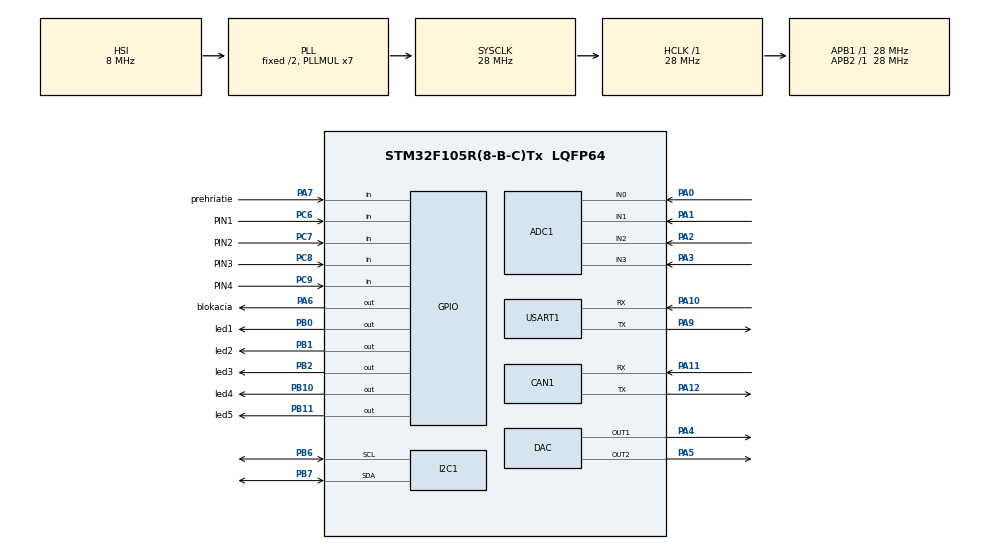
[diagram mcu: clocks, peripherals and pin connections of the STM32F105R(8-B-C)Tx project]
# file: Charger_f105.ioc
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ADC1.Channel-0\#ChannelRegularConversion=ADC_CHANNEL_0
ADC1.Channel-1\#ChannelRegularConversion=ADC_CHANNEL_1
ADC1.Channel-4\#ChannelRegularConversion=ADC_CHANNEL_2
ADC1.Channel-5\#ChannelRegularConversion=ADC_CHANNEL_3
ADC1.ContinuousConvMode=ENABLE
ADC1.DataAlign=ADC_DATAALIGN_RIGHT
ADC1.DiscontinuousConvMode=DISABLE
ADC1.EnableAnalogWatchDog=false
ADC1.EnableRegularConversion=ENABLE
ADC1.ExternalTrigConv=ADC_SOFTWARE_START
ADC1.InjNumberOfConversion=0
ADC1.NbrOfConversion=4
ADC1.NbrOfConversionFlag=1
ADC1.Rank-0\#ChannelRegularConversion=1
ADC1.Rank-1\#ChannelRegularConversion=2
ADC1.Rank-4\#ChannelRegularConversion=3
ADC1.Rank-5\#ChannelRegularConversion=4
ADC1.SamplingTime-0\#ChannelRegularConversion=ADC_SAMPLETIME_71CYCLES_5
ADC1.SamplingTime-1\#ChannelRegularConversion=ADC_SAMPLETIME_71CYCLES_5
ADC1.SamplingTime-4\#ChannelRegularConversion=ADC_SAMPLETIME_71CYCLES_5
ADC1.SamplingTime-5\#ChannelRegularConversion=ADC_SAMPLETIME_71CYCLES_5
ADC1.ScanConvMode=ADC_SCAN_ENABLE
ADC1.master=1
CAN1.CalculateTimeBit=1714
CAN1.CalculateTimeQuantum=571.4285714285714
Dma.ADC1.0.Direction=DMA_PERIPH_TO_MEMORY
Dma.ADC1.0.Instance=DMA1_Channel1
Dma.ADC1.0.MemDataAlignment=DMA_MDATAALIGN_HALFWORD
Dma.ADC1.0.MemInc=DMA_MINC_ENABLE
Dma.ADC1.0.Mode=DMA_CIRCULAR
Dma.ADC1.0.PeriphDataAlignment=DMA_PDATAALIGN_HALFWORD
Dma.ADC1.0.PeriphInc=DMA_PINC_DISABLE
Dma.ADC1.0.Priority=DMA_PRIORITY_LOW
Dma.Request0=ADC1
I2C1.I2C_Mode=I2C_Fast
Mcu.Family=STM32F1
Mcu.Name=STM32F105R(8-B-C)Tx
Mcu.Package=LQFP64
NVIC.ADC1_2_IRQn=true\:0\:0\:false\:false\:true\:true
NVIC.DMA1_Channel1_IRQn=true\:0\:0\:false\:false\:true\:false
NVIC.PriorityGroup=NVIC_PRIORITYGROUP_4
PA0-WKUP.Signal=ADCx_IN0
PA1.Signal=ADCx_IN1
PA10.Mode=Asynchronous
PA10.Signal=USART1_RX
PA11.Mode=Master
PA11.Signal=CAN1_RX
PA12.Mode=Master
PA12.Signal=CAN1_TX
PA13.Mode=Serial_Wire
PA13.Signal=SYS_JTMS-SWDIO
PA14.Mode=Serial_Wire
PA14.Signal=SYS_JTCK-SWCLK
PA2.Signal=ADCx_IN2
PA3.Signal=ADCx_IN3
PA4.Signal=COMP_DAC1_group
PA5.Signal=COMP_DAC2_group
PA6.GPIO_Label=blokacia
PA6.Signal=GPIO_Output
PA7.GPIO_Label=prehriatie
PA7.Signal=GPIO_Input
PA9.Mode=Asynchronous
PA9.Signal=USART1_TX
PB0.GPIO_Label=led1
PB0.Signal=GPIO_Output
PB1.GPIO_Label=led2
PB1.Signal=GPIO_Output
PB10.GPIO_Label=led4
PB10.Signal=GPIO_Output
PB11.GPIO_Label=led5
PB11.Signal=GPIO_Output
PB2.GPIO_Label=led3
PB2.Signal=GPIO_Output
PB6.Mode=I2C
PB6.Signal=I2C1_SCL
PB7.Mode=I2C
PB7.Signal=I2C1_SDA
PC6.GPIO_Label=PIN1
PC6.Signal=GPIO_Input
PC7.GPIO_Label=PIN2
PC7.Signal=GPIO_Input
PC8.GPIO_Label=PIN3
PC8.Signal=GPIO_Input
PC9.GPIO_Label=PIN4
PC9.Signal=GPIO_Input
PD0-OSC_IN.Mode=HSE-External-Clock-Source
PD0-OSC_IN.Signal=RCC_OSC_IN
PD1-OSC_OUT.Mode=HSE-External-Clock-Source
PD1-OSC_OUT.Signal=RCC_OSC_OUT
ProjectManager.HeapSize=0x200
ProjectManager.StackSize=0x400
ProjectManager.TargetToolchain=TrueSTUDIO
RCC.AHBFreq_Value=28000000
RCC.APB1Freq_Value=28000000
RCC.APB1TimFreq_Value=28000000
RCC.APB2Freq_Value=28000000
RCC.APB2TimFreq_Value=28000000
RCC.HCLKFreq_Value=28000000
RCC.PLLMUL=RCC_PLL_MUL7
RCC.SYSCLKFreq_VALUE=28000000
RCC.SYSCLKSource=RCC_SYSCLKSOURCE_PLLCLK
RCC.USBFreq_Value=18666666.666666668
SH.ADCx_IN0.0=ADC1_IN0,IN0
SH.ADCx_IN1.0=ADC1_IN1,IN1
SH.ADCx_IN2.0=ADC1_IN2,IN2
SH.ADCx_IN3.0=ADC1_IN3,IN3
SH.COMP_DAC1_group.0=DAC_OUT1,DAC_OUT1
SH.COMP_DAC2_group.0=DAC_OUT2,DAC_OUT2
USART1.VirtualMode=VM_ASYNC
board=Charger_f105

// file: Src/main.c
/**
  ******************************************************************************
  * @file           : main.c
  * @brief          : Main program body
  ******************************************************************************
  ** This notice applies to any and all portions of this file
  * that are not between comment pairs USER CODE BEGIN and
  * USER CODE END. Other portions of this file, whether
  * inserted by the user or by software development tools
  * are owned by their respective copyright owners.
  *
  * COPYRIGHT(c) 2018 STMicroelectronics
  *
  * Redistribution and use in source and binary forms, with or without modification,
  * are permitted provided that the following conditions are met:
  *   1. Redistributions of source code must retain the above copyright notice,
  *      this list of conditions and the following disclaimer.
  *   2. Redistributions in binary form must reproduce the above copyright notice,
  *      this list of conditions and the following disclaimer in the documentation
  *      and/or other materials provided with the distribution.
  *   3. Neither the name of STMicroelectronics nor the names of its contributors
  *      may be used to endorse or promote products derived from this software
  *      without specific prior written permission.
  *
  * THIS SOFTWARE IS PROVIDED BY THE COPYRIGHT HOLDERS AND CONTRIBUTORS "AS IS"
  * AND ANY EXPRESS OR IMPLIED WARRANTIES, INCLUDING, BUT NOT LIMITED TO, THE
  * IMPLIED WARRANTIES OF MERCHANTABILITY AND FITNESS FOR A PARTICULAR PURPOSE ARE
  * DISCLAIMED. IN NO EVENT SHALL THE COPYRIGHT HOLDER OR CONTRIBUTORS BE LIABLE
  * FOR ANY DIRECT, INDIRECT, INCIDENTAL, SPECIAL, EXEMPLARY, OR CONSEQUENTIAL
  * DAMAGES (INCLUDING, BUT NOT LIMITED TO, PROCUREMENT OF SUBSTITUTE GOODS OR
  * SERVICES; LOSS OF USE, DATA, OR PROFITS; OR BUSINESS INTERRUPTION) HOWEVER
  * CAUSED AND ON ANY THEORY OF LIABILITY, WHETHER IN CONTRACT, STRICT LIABILITY,
  * OR TORT (INCLUDING NEGLIGENCE OR OTHERWISE) ARISING IN ANY WAY OUT OF THE USE
  * OF THIS SOFTWARE, EVEN IF ADVISED OF THE POSSIBILITY OF SUCH DAMAGE.
  *
  ******************************************************************************
  */
#include "main.h"
#include "stm32f1xx_hal.h"

/* USER CODE BEGIN Includes */
#include "ssd1306.h"
#include "i2c-lcd.h"
/* USER CODE END Includes */

ADC_HandleTypeDef hadc1;
DMA_HandleTypeDef hdma_adc1;

CAN_HandleTypeDef hcan1;

DAC_HandleTypeDef hdac;

I2C_HandleTypeDef hi2c1;

UART_HandleTypeDef huart1;

/* USER CODE BEGIN PV */
/* Private variables ---------------------------------------------------------*/
uint8_t mode,MeanCounter=0;
uint16_t ADC1_BUF[128][4];
uint32_t MeanUbin,MeanIbin,MeanPot1B,MeanPot2B;
uint32_t BPot1,BPot2,BmeraneU,BmeraneI;
float meraneU,meraneI,Pot1,Pot2;

#define Ukonst 0.155844
#define	Ikonst 0.006012053
#define UkonstNastav 0.155844
#define	IkonstNastav 0.006012053
/* 	mode 0 - start
	mode 1 - manual mode
	mode 2 - automatic linear voltage
	mode 3 - automatic PWM current
	mode 4 - fast charge
*/
/* USER CODE END PV */

void SystemClock_Config(void);
static void MX_GPIO_Init(void);
static void MX_DMA_Init(void);
static void MX_ADC1_Init(void);
static void MX_CAN1_Init(void);
static void MX_DAC_Init(void);
static void MX_I2C1_Init(void);
static void MX_USART1_UART_Init(void);

/* USER CODE BEGIN PFP */
/* Private function prototypes -----------------------------------------------*/

/* USER CODE END PFP */

/* USER CODE BEGIN 0 */
/*
void HAL_ADC_ConvCpltCallback(ADC_HandleTypeDef* hadc)
{
	if(hadc->Instance==ADC1)
		{
			BmeraneU=ADC1_BUF[0];
			BmeraneI=ADC1_BUF[1];
			BPot1=ADC1_BUF[2];
			BPot2=ADC1_BUF[3];
		}
	meraneU=((float)BmeraneU*Ukonst);
		meraneI=((float)BmeraneI*Ikonst);
		Pot1=((float)BPot1*Ukonst);
		Pot2=((float)BPot2*Ikonst);

		MeanU[MeanCounter]=ADC1_BUF[0];
		MeanI[MeanCounter]=ADC1_BUF[1];
		MeanPot1[MeanCounter]=ADC1_BUF[2];
		MeanPot2[MeanCounter]=ADC1_BUF[3];

		MeanCounter++;
		MeanUbin=0;
		MeanIbin=0;
		MeanPot1B=0;
		MeanPot2B=0;

		if (MeanCounter>=25)	MeanCounter=0;

		for(int counterF=0;counterF<=25;counterF++)
		  {
		  		MeanUbin+=(uint32_t)MeanU[counterF];
		  		MeanIbin+=(uint32_t)MeanI[counterF];
		  		MeanPot1B+=(uint32_t)MeanPot1[counterF];
				MeanPot2B+=(uint32_t)MeanPot2[counterF];
		  }
		MeanUbin=(uint32_t)(MeanUbin/25);
		MeanIbin=(uint32_t)(MeanIbin/25);
		MeanPot1B=(uint32_t)(MeanPot2B/25);
		MeanPot2B=(uint32_t)(MeanPot2B/25);
		if (MeanUbin>=4095)	MeanUbin=0;
		if (MeanIbin>=4095)	MeanIbin=0;
		if (MeanPot1B>=4095)	MeanPot1B=0;
		if (MeanPot2B>=4095)	MeanPot2B=0;
}*/
void nastavU(float napetie)
{
	uint32_t Ubinar;
	Ubinar = (uint32_t)(napetie/UkonstNastav);
	HAL_DAC_SetValue(&hdac,DAC_CHANNEL_1,DAC_ALIGN_12B_R, Ubinar);
}
void nastavI(float prud)
{
	uint32_t Ibinar;
	Ibinar = (uint32_t)(prud/IkonstNastav);
	HAL_DAC_SetValue(&hdac,DAC_CHANNEL_2,DAC_ALIGN_12B_R, Ibinar);
}
void nastavUbin(uint32_t Ubinar)
{
	HAL_DAC_SetValue(&hdac,DAC_CHANNEL_1,DAC_ALIGN_12B_R, Ubinar);
}
void nastavIbin(uint32_t Ibinar)
{
	HAL_DAC_SetValue(&hdac,DAC_CHANNEL_2,DAC_ALIGN_12B_R, Ibinar);
}
void vypisOLED()
{
	char text [20];
	//SSD1306_Init ();
	SSD1306_Fill (0);
	SSD1306_GotoXY (2, 0);
	//sprintf(text,"Uz:%.2d V",Pot1);
	sprintf(text,"Uz:%d V",BPot1);
	SSD1306_Puts (text, &Font_7x10, 1);
	//SSD1306_UpdateScreen();
	SSD1306_GotoXY (2, 12);
	//sprintf(text,"Um:%.2d V",(float)meraneU);
	sprintf(text,"Um:%d V",BmeraneU);
	SSD1306_Puts (text, &Font_7x10, 1);
	//SSD1306_UpdateScreen();
	SSD1306_GotoXY (2, 24);
	//sprintf(text,"Iz:%.2d A",(float)Pot2);
	sprintf(text,"Iz:%d A",BPot2);
	SSD1306_Puts (text, &Font_7x10, 1);
	//SSD1306_UpdateScreen();
	SSD1306_GotoXY (2, 36);
	//sprintf(text,"Im:%.2d A",(float)meraneI);
	sprintf(text,"Im:%d A",BmeraneI);
	SSD1306_Puts (text, &Font_7x10, 1);
	SSD1306_GotoXY (2, 48);
	sprintf(text,"IMD:%s BMS:%s","ok","ok");
	SSD1306_Puts (text, &Font_7x10, 1);
	SSD1306_UpdateScreen();

}
void DACtest()
{
	uint32_t	valByte2,valByte;
	valByte2 = (uint32_t)((1.0/1.0)*4095);
	float valVolt = 1.9 ;
	valByte = (uint32_t)((valVolt/3.3)*4095);
	for(int d=0;d<3300;d++)
	{
		float num=(float)d;
		valByte = (uint32_t)((num/3300.0)*4095);
		valByte2 = (uint32_t)((1-(num/3300.0))*4095);
		HAL_DAC_SetValue(&hdac,DAC_CHANNEL_2,DAC_ALIGN_12B_R, valByte);
		HAL_DAC_SetValue(&hdac,DAC_CHANNEL_1,DAC_ALIGN_12B_R, valByte2);
		//HAL_Delay(1);
	}
}
void DMAMeranie()
{
	MeanUbin=0;
	MeanIbin=0;
	MeanPot1B=0;
	MeanPot2B=0;
	MeanPot2B=0;
	for(int counterF=0;counterF<126;counterF++)
		{
			  		MeanUbin+=ADC1_BUF[counterF][0];
			  		MeanIbin+=ADC1_BUF[counterF][1];
			  		MeanPot1B+=ADC1_BUF[counterF][2];
					MeanPot2B+=ADC1_BUF[counterF][3];
		}
	BmeraneU=MeanUbin/126;
	BmeraneI=MeanIbin/126;
	BPot1=MeanPot1B/126;
	BPot2=MeanPot2B/126;
	//HAL_ADC_Start_IT(&hadc1);
	//HAL_ADC_Start_DMA(&hadc1,(uint32_t*)ADC1_BUF,4);

}
void InitVypis()
{
	SSD1306_Init ();
	SSD1306_Fill (0);
	SSD1306_GotoXY (40, 0);
	SSD1306_Puts ("NES", &Font_16x26, 1);
	SSD1306_UpdateScreen();
	SSD1306_GotoXY (30, 26);
	SSD1306_Puts ("CHARGER", &Font_11x18, 1);
	SSD1306_UpdateScreen();
	SSD1306_GotoXY (10, 50);
	SSD1306_Puts ("STUBA GREEN TEAM", &Font_7x10, 1);
	SSD1306_UpdateScreen();
}
void BlockVypis()
{
	char text [20];
		//SSD1306_Init ();
		SSD1306_Fill (0);

		SSD1306_GotoXY (2, 0);
		SSD1306_Puts ("Vynuluj", &Font_11x18, 1);
		SSD1306_GotoXY (60, 15);
				SSD1306_Puts ("zdroj", &Font_11x18, 1);

		SSD1306_GotoXY (2, 30);
		sprintf(text,"Uz:%d V",BPot1);
		SSD1306_Puts (text, &Font_11x18, 1);

		SSD1306_GotoXY (2, 45);
		sprintf(text,"Iz:%d A",BPot2);
		SSD1306_Puts (text, &Font_11x18, 1);
		//SSD1306_UpdateScreen();

		SSD1306_UpdateScreen();
}
void PrimitivneOvladanie()
{
//PriameMeranie();
DMAMeranie();
nastavUbin(BPot1);
nastavIbin(BPot2);
//DACtest();
vypisOLED();
HAL_Delay(10);
//testvypis();
}

void Mode0()
{
	while(1)
	{
		nastavIbin(0);
		nastavUbin(0);
		InitVypis();
		//set blokaciu
		//break na interupt bud tla4idlo alebo y 4D displeya
	}
}
void Mode1()
{
	//while(1)
		//{
			//reset blokacie
			PrimitivneOvladanie();

		//}
}
void Mode2()
{
	while(1)
		{

		}
}
void Mode3()
{
	while(1)
		{

		}
}
void Mode4()
{
	while(1)
		{

		}
}
/* USER CODE END 0 */

int main(void)
{

  /* MCU Configuration----------------------------------------------------------*/

  /* Reset of all peripherals, Initializes the Flash interface and the Systick. */
  HAL_Init();

  /* Configure the system clock */
  SystemClock_Config();

  /* Initialize all configured peripherals */
  MX_GPIO_Init();
  MX_DMA_Init();
  MX_ADC1_Init();
  MX_CAN1_Init();
  MX_DAC_Init();
  MX_I2C1_Init();
  MX_USART1_UART_Init();
  /* USER CODE BEGIN 2 */
  mode=1;
  HAL_ADC_Start_DMA(&hadc1,(uint32_t*)ADC1_BUF,512);
  //HAL_ADC_Start_IT(&hadc1);
  //HAL_ADC_Start(&hadc2);
  uint32_t nula=0;
  HAL_DAC_Start(&hdac,DAC_CHANNEL_1);
  HAL_DAC_Start(&hdac,DAC_CHANNEL_2);
  HAL_DAC_SetValue(&hdac,DAC_CHANNEL_1,DAC_ALIGN_12B_R, nula);
  HAL_DAC_SetValue(&hdac,DAC_CHANNEL_2,DAC_ALIGN_12B_R, nula);
  SSD1306_Init ();
  /* USER CODE END 2 */

  /* Infinite loop */
  /* USER CODE BEGIN WHILE */
  InitVypis();
  HAL_Delay(1000);

  while (1)
  {
	  HAL_DAC_SetValue(&hdac,DAC_CHANNEL_1,DAC_ALIGN_12B_R, nula);
	  HAL_DAC_SetValue(&hdac,DAC_CHANNEL_2,DAC_ALIGN_12B_R, nula);
	  //PriameMeranie();
	  DMAMeranie();
	  BlockVypis();
	  if(BPot1==0) break;
  }
  while (1)
  {

	  switch(mode)
	  	  {
	  	  	  case 0://vyber a zaistenie
	  	  		  Mode0();
	  	  		  break;

	  	  	  case 1://primitivne ovladanie
	  	  		  Mode1();
	  	  		  break;

	  	  	  case 2://automatica napätova
	  	  		  Mode2();
	  	  		  break;

	  	  	  case 3://automatika prudova
	  	  		  Mode3();
	  	  		  break;

	  	  	  case 4://fast charger
	  	  		  Mode4();
	  	  		  break;
	  	  }
  /* USER CODE END WHILE */

  }

}

void SystemClock_Config(void)
{

  RCC_OscInitTypeDef RCC_OscInitStruct;
  RCC_ClkInitTypeDef RCC_ClkInitStruct;
  RCC_PeriphCLKInitTypeDef PeriphClkInit;

    /**Initializes the CPU, AHB and APB busses clocks
    */
  RCC_OscInitStruct.OscillatorType = RCC_OSCILLATORTYPE_HSI;
  RCC_OscInitStruct.HSIState = RCC_HSI_ON;
  RCC_OscInitStruct.HSICalibrationValue = 16;
  RCC_OscInitStruct.Prediv1Source = RCC_PREDIV1_SOURCE_HSE;
  RCC_OscInitStruct.PLL.PLLState = RCC_PLL_ON;
  RCC_OscInitStruct.PLL.PLLSource = RCC_PLLSOURCE_HSI_DIV2;
  RCC_OscInitStruct.PLL.PLLMUL = RCC_PLL_MUL7;
  RCC_OscInitStruct.PLL2.PLL2State = RCC_PLL_NONE;
  if (HAL_RCC_OscConfig(&RCC_OscInitStruct) != HAL_OK)
  {
    _Error_Handler(__FILE__, __LINE__);
  }

    /**Initializes the CPU, AHB and APB busses clocks
    */
  RCC_ClkInitStruct.ClockType = RCC_CLOCKTYPE_HCLK|RCC_CLOCKTYPE_SYSCLK
                              |RCC_CLOCKTYPE_PCLK1|RCC_CLOCKTYPE_PCLK2;
  RCC_ClkInitStruct.SYSCLKSource = RCC_SYSCLKSOURCE_PLLCLK;
  RCC_ClkInitStruct.AHBCLKDivider = RCC_SYSCLK_DIV1;
  RCC_ClkInitStruct.APB1CLKDivider = RCC_HCLK_DIV1;
  RCC_ClkInitStruct.APB2CLKDivider = RCC_HCLK_DIV1;

  if (HAL_RCC_ClockConfig(&RCC_ClkInitStruct, FLASH_LATENCY_1) != HAL_OK)
  {
    _Error_Handler(__FILE__, __LINE__);
  }

  PeriphClkInit.PeriphClockSelection = RCC_PERIPHCLK_ADC;
  PeriphClkInit.AdcClockSelection = RCC_ADCPCLK2_DIV2;
  if (HAL_RCCEx_PeriphCLKConfig(&PeriphClkInit) != HAL_OK)
  {
    _Error_Handler(__FILE__, __LINE__);
  }

    /**Configure the Systick interrupt time
    */
  HAL_SYSTICK_Config(HAL_RCC_GetHCLKFreq()/1000);

    /**Configure the Systick
    */
  HAL_SYSTICK_CLKSourceConfig(SYSTICK_CLKSOURCE_HCLK);

    /**Configure the Systick interrupt time
    */
  __HAL_RCC_PLLI2S_ENABLE();

  /* SysTick_IRQn interrupt configuration */
  HAL_NVIC_SetPriority(SysTick_IRQn, 0, 0);
}

/* ADC1 init function */
static void MX_ADC1_Init(void)
{

  ADC_ChannelConfTypeDef sConfig;

    /**Common config
    */
  hadc1.Instance = ADC1;
  hadc1.Init.ScanConvMode = ADC_SCAN_ENABLE;
  hadc1.Init.ContinuousConvMode = ENABLE;
  hadc1.Init.DiscontinuousConvMode = DISABLE;
  hadc1.Init.ExternalTrigConv = ADC_SOFTWARE_START;
  hadc1.Init.DataAlign = ADC_DATAALIGN_RIGHT;
  hadc1.Init.NbrOfConversion = 4;
  if (HAL_ADC_Init(&hadc1) != HAL_OK)
  {
    _Error_Handler(__FILE__, __LINE__);
  }

    /**Configure Regular Channel
    */
  sConfig.Channel = ADC_CHANNEL_0;
  sConfig.Rank = ADC_REGULAR_RANK_1;
  sConfig.SamplingTime = ADC_SAMPLETIME_71CYCLES_5;
  if (HAL_ADC_ConfigChannel(&hadc1, &sConfig) != HAL_OK)
  {
    _Error_Handler(__FILE__, __LINE__);
  }

    /**Configure Regular Channel
    */
  sConfig.Channel = ADC_CHANNEL_1;
  sConfig.Rank = ADC_REGULAR_RANK_2;
  if (HAL_ADC_ConfigChannel(&hadc1, &sConfig) != HAL_OK)
  {
    _Error_Handler(__FILE__, __LINE__);
  }

    /**Configure Regular Channel
    */
  sConfig.Channel = ADC_CHANNEL_2;
  sConfig.Rank = ADC_REGULAR_RANK_3;
  if (HAL_ADC_ConfigChannel(&hadc1, &sConfig) != HAL_OK)
  {
    _Error_Handler(__FILE__, __LINE__);
  }

    /**Configure Regular Channel
    */
  sConfig.Channel = ADC_CHANNEL_3;
  sConfig.Rank = ADC_REGULAR_RANK_4;
  if (HAL_ADC_ConfigChannel(&hadc1, &sConfig) != HAL_OK)
  {
    _Error_Handler(__FILE__, __LINE__);
  }

}

/* CAN1 init function */
static void MX_CAN1_Init(void)
{

  hcan1.Instance = CAN1;
  hcan1.Init.Prescaler = 16;
  hcan1.Init.Mode = CAN_MODE_NORMAL;
  hcan1.Init.SJW = CAN_SJW_1TQ;
  hcan1.Init.BS1 = CAN_BS1_1TQ;
  hcan1.Init.BS2 = CAN_BS2_1TQ;
  hcan1.Init.TTCM = DISABLE;
  hcan1.Init.ABOM = DISABLE;
  hcan1.Init.AWUM = DISABLE;
  hcan1.Init.NART = DISABLE;
  hcan1.Init.RFLM = DISABLE;
  hcan1.Init.TXFP = DISABLE;
  if (HAL_CAN_Init(&hcan1) != HAL_OK)
  {
    _Error_Handler(__FILE__, __LINE__);
  }

}

/* DAC init function */
static void MX_DAC_Init(void)
{

  DAC_ChannelConfTypeDef sConfig;

    /**DAC Initialization
    */
  hdac.Instance = DAC;
  if (HAL_DAC_Init(&hdac) != HAL_OK)
  {
    _Error_Handler(__FILE__, __LINE__);
  }

    /**DAC channel OUT1 config
    */
  sConfig.DAC_Trigger = DAC_TRIGGER_NONE;
  sConfig.DAC_OutputBuffer = DAC_OUTPUTBUFFER_ENABLE;
  if (HAL_DAC_ConfigChannel(&hdac, &sConfig, DAC_CHANNEL_1) != HAL_OK)
  {
    _Error_Handler(__FILE__, __LINE__);
  }

    /**DAC channel OUT2 config
    */
  if (HAL_DAC_ConfigChannel(&hdac, &sConfig, DAC_CHANNEL_2) != HAL_OK)
  {
    _Error_Handler(__FILE__, __LINE__);
  }

}

/* I2C1 init function */
static void MX_I2C1_Init(void)
{

  hi2c1.Instance = I2C1;
  hi2c1.Init.ClockSpeed = 400000;
  hi2c1.Init.DutyCycle = I2C_DUTYCYCLE_2;
  hi2c1.Init.OwnAddress1 = 0;
  hi2c1.Init.AddressingMode = I2C_ADDRESSINGMODE_7BIT;
  hi2c1.Init.DualAddressMode = I2C_DUALADDRESS_DISABLE;
  hi2c1.Init.OwnAddress2 = 0;
  hi2c1.Init.GeneralCallMode = I2C_GENERALCALL_DISABLE;
  hi2c1.Init.NoStretchMode = I2C_NOSTRETCH_DISABLE;
  if (HAL_I2C_Init(&hi2c1) != HAL_OK)
  {
    _Error_Handler(__FILE__, __LINE__);
  }

}

/* USART1 init function */
static void MX_USART1_UART_Init(void)
{

  huart1.Instance = USART1;
  huart1.Init.BaudRate = 115200;
  huart1.Init.WordLength = UART_WORDLENGTH_8B;
  huart1.Init.StopBits = UART_STOPBITS_1;
  huart1.Init.Parity = UART_PARITY_NONE;
  huart1.Init.Mode = UART_MODE_TX_RX;
  huart1.Init.HwFlowCtl = UART_HWCONTROL_NONE;
  huart1.Init.OverSampling = UART_OVERSAMPLING_16;
  if (HAL_UART_Init(&huart1) != HAL_OK)
  {
    _Error_Handler(__FILE__, __LINE__);
  }

}

static void MX_DMA_Init(void)
{
  /* DMA controller clock enable */
  __HAL_RCC_DMA1_CLK_ENABLE();

  /* DMA interrupt init */
  /* DMA1_Channel1_IRQn interrupt configuration */
  HAL_NVIC_SetPriority(DMA1_Channel1_IRQn, 0, 0);
  HAL_NVIC_EnableIRQ(DMA1_Channel1_IRQn);

}

/** Configure pins as
        * Analog
        * Input
        * Output
        * EVENT_OUT
        * EXTI
*/
static void MX_GPIO_Init(void)
{

  GPIO_InitTypeDef GPIO_InitStruct;

  /* GPIO Ports Clock Enable */
  __HAL_RCC_GPIOD_CLK_ENABLE();
  __HAL_RCC_GPIOA_CLK_ENABLE();
  __HAL_RCC_GPIOB_CLK_ENABLE();
  __HAL_RCC_GPIOC_CLK_ENABLE();

  /*Configure GPIO pin Output Level */
  HAL_GPIO_WritePin(blokacia_GPIO_Port, blokacia_Pin, GPIO_PIN_RESET);

  /*Configure GPIO pin Output Level */
  HAL_GPIO_WritePin(GPIOB, led1_Pin|led2_Pin|led3_Pin|led4_Pin
                          |led5_Pin, GPIO_PIN_RESET);

  /*Configure GPIO pin : blokacia_Pin */
  GPIO_InitStruct.Pin = blokacia_Pin;
  GPIO_InitStruct.Mode = GPIO_MODE_OUTPUT_PP;
  GPIO_InitStruct.Speed = GPIO_SPEED_FREQ_LOW;
  HAL_GPIO_Init(blokacia_GPIO_Port, &GPIO_InitStruct);

  /*Configure GPIO pin : prehriatie_Pin */
  GPIO_InitStruct.Pin = prehriatie_Pin;
  GPIO_InitStruct.Mode = GPIO_MODE_INPUT;
  GPIO_InitStruct.Pull = GPIO_NOPULL;
  HAL_GPIO_Init(prehriatie_GPIO_Port, &GPIO_InitStruct);

  /*Configure GPIO pins : led1_Pin led2_Pin led3_Pin led4_Pin
                           led5_Pin */
  GPIO_InitStruct.Pin = led1_Pin|led2_Pin|led3_Pin|led4_Pin
                          |led5_Pin;
  GPIO_InitStruct.Mode = GPIO_MODE_OUTPUT_PP;
  GPIO_InitStruct.Speed = GPIO_SPEED_FREQ_LOW;
  HAL_GPIO_Init(GPIOB, &GPIO_InitStruct);

  /*Configure GPIO pins : PIN1_Pin PIN2_Pin PIN3_Pin PIN4_Pin */
  GPIO_InitStruct.Pin = PIN1_Pin|PIN2_Pin|PIN3_Pin|PIN4_Pin;
  GPIO_InitStruct.Mode = GPIO_MODE_INPUT;
  GPIO_InitStruct.Pull = GPIO_NOPULL;
  HAL_GPIO_Init(GPIOC, &GPIO_InitStruct);

}

void _Error_Handler(char *file, int line)
{
  while(1)
  {
  }
}

/************************ (C) COPYRIGHT STMicroelectronics *****END OF FILE****/
